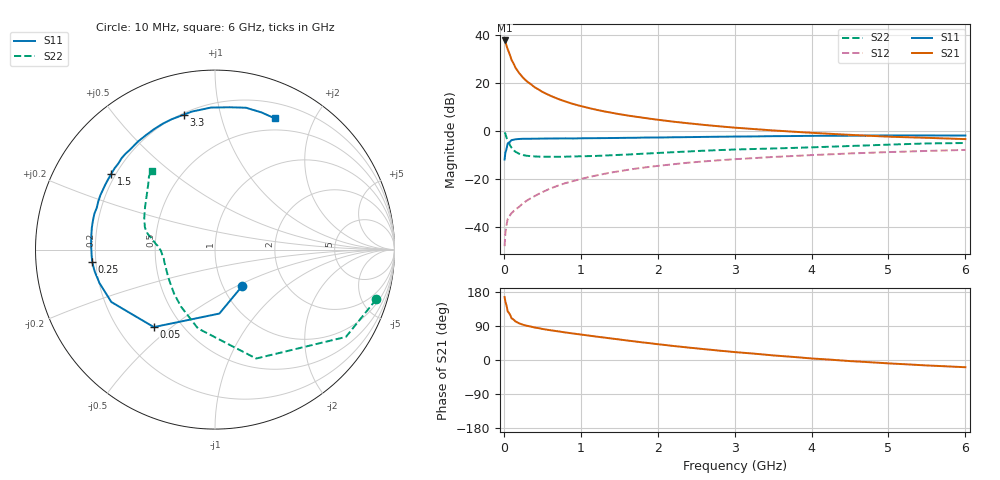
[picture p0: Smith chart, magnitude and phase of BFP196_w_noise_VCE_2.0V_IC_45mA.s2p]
! Infineon Technologies  Discrete & RF Semiconductors
! BFP196
! VCE =  2.0 V,  IC =  45 mA
! Common Emitter S-Parameters:  Jan 2017
# GHz  S  MA  R  50
!  f  S11  S21  S12  S22
! GHz  MAG  ANG  MAG  ANG  MAG  ANG  MAG  ANG
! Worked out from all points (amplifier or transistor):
!   77 points, 10 MHz to 6 GHz, reference 50 ohm
!   highest |S21| = 37.7 dB at 10 MHz (marker M1)
!   |S21| within 3 dB of that: start of sweep to 43.2 MHz
!   unconditionally stable (mu >= 1): 498.4 MHz to 2.527 GHz
!   at 130 MHz: K = 0.63, MSG = 30.5 dB, |S12| = -33.3 dB
!   at 2.2 GHz: K = 1.01, MAG = 8.2 dB, |S12| = -13.9 dB
!   at 6 GHz: K = 0.97, MSG = 2.2 dB, |S12| = -7.9 dB
!   lowest NFmin = 1.39 dB at 450 MHz
!   S11 on the Smith chart (normalised r, x): 10 MHz: 1.22, -0.54; 50 MHz: 0.35, -0.44; 250 MHz: 0.19, -0.05; 1.5 GHz: 0.18, +0.32; 3.3 GHz: 0.21, +0.77; 6 GHz: 0.36, +1.49
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0.01  0.254 -53.8  76.55 166.2  0.004 76.3  0.9397 -17.2
0.02  0.3572 -86.1  71.85 153.8  0.0075 69.4  0.8767 -33.7
0.05  0.55 -128.3  50.32 128.4  0.0146 53.1  0.6487 -69.3
0.1  0.6473 -153.2  30.21 110.1  0.0195 51.8  0.4491 -102.3
0.15  0.6702 -163.9  20.96 101.9  0.0231 52.8  0.3699 -120.8
0.2  0.6815 -169.8  15.97 96.7  0.0265 56.6  0.3347 -133.0
0.25  0.6876 -174.3  12.85 93.0  0.0313 58.1  0.3151 -141.2
0.3  0.6881 -177.4  10.77 90.3  0.0356 60.5  0.3046 -147.7
0.4  0.6913 177.4  8.136 85.7  0.0441 63.8  0.2949 -156.0
0.5  0.6938 173.2  6.516 82.0  0.0533 64.8  0.2907 -161.7
0.6  0.697 169.9  5.459 78.7  0.0631 65.2  0.2909 -166.0
0.7  0.6989 166.7  4.683 75.8  0.0724 65.8  0.2896 -169.4
0.9  0.6988 160.4  3.65 69.9  0.0906 64.6  0.2945 -173.9
1.1  0.7069 154.7  3.014 64.6  0.1094 63.0  0.2996 -177.7
1.5  0.716 143.7  2.239 54.2  0.1452 58.2  0.3179 176.8
2.1  0.7344 128.0  1.637 39.5  0.195 49.9  0.3547 170.6
2.6  0.7524 116.7  1.339 28.7  0.2325 42.8  0.3885 166.3
3.1  0.7665 106.7  1.142 19.3  0.2638 36.1  0.415 160.7
3.3  0.7716 103.1  1.082 15.9  0.2754 33.5  0.4233 158.1
4.1  0.7917 90.1  0.898 2.8  0.3195 23.7  0.4618 147.1
5.1  0.8078 76.4  0.752 -10.0  0.3672 12.0  0.5251 135.0
6  0.8035 65.5  0.677 -19.1  0.4034 2.0  0.5618 128.4
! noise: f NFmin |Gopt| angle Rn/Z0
0.45  1.39  0.37  -180  0.06
0.9  1.55  0.46  -166  0.07
1.9  2.36  0.68  -133  0.3
2.4  2.76  0.7  -120  0.65
